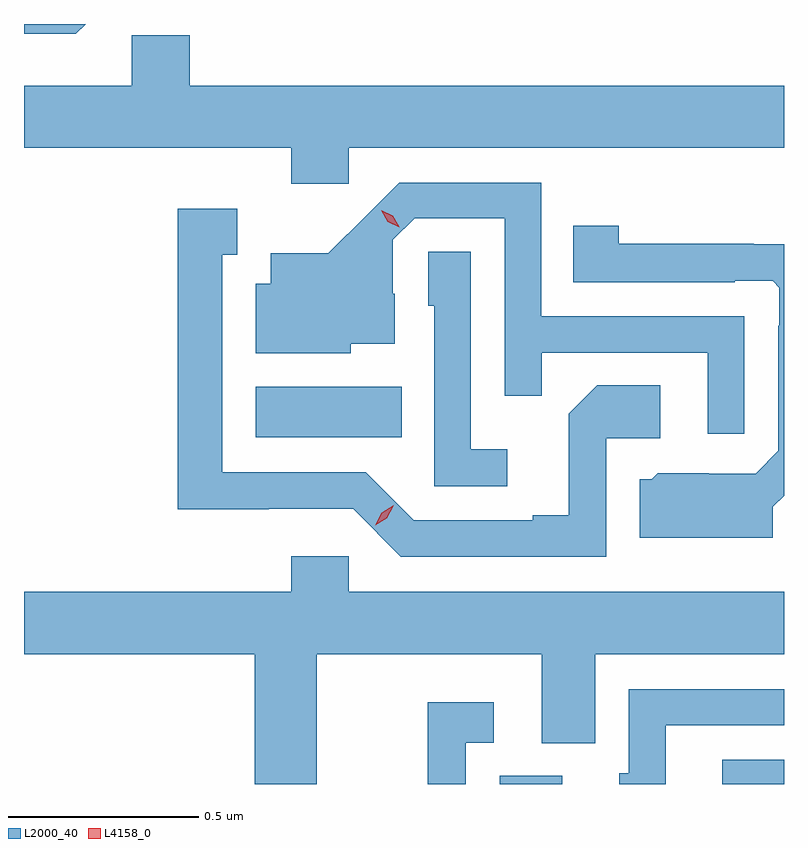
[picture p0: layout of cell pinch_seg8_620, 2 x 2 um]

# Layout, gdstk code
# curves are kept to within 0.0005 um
import gdstk
lib = gdstk.Library(unit=1e-6, precision=1e-09)
def R(c, l, rs):  # rectangles x0, y0, x1, y1
    for r in rs: c.add(gdstk.rectangle(r[:2], r[2:], *l))
def P(c, l, *ps):  # polygons
    for p in ps: c.add(gdstk.Polygon(p, *l))
L2000_40 = (2000, 40)
L4158_0 = (4158, 0)

pinch_seg8_620 = lib.new_cell('pinch_seg8_620')
R(pinch_seg8_620, L2000_40, [(127.358,1101.506,127.522,1101.528), (127.944,1101.506,128.106,1101.57), (126.716,1102.418,127.1,1102.552)])
P(pinch_seg8_620, L2000_40, [(126.268,1103.506),(126.106,1103.506),(126.106,1103.48),(126.242,1103.48)],
  [(126.96,1103.18),(128.106,1103.18),(128.106,1103.344),(126.542,1103.344),(126.542,1103.476),(126.39,1103.476),(126.39,1103.344),(126.106,1103.344),(126.106,1103.18),(126.809,1103.18),(126.809,1103.085),(126.96,1103.085)],
  [(128.001,1102.737),(127.467,1102.737),(127.467,1103.088),(127.094,1103.088),(126.907,1102.903),(126.755,1102.903),(126.755,1102.822),(126.716,1102.822),(126.716,1102.64),(126.966,1102.64),(126.966,1102.664),(127.081,1102.664),(127.081,1102.796),(127.077,1102.796),(127.077,1102.938),(127.134,1102.995),(127.371,1102.995),(127.371,1102.528),(127.469,1102.528),(127.469,1102.641),(127.905,1102.641),(127.905,1102.428),(128.001,1102.428)],
  [(127.638,1102.416),(127.78,1102.416),(127.78,1102.556),(127.615,1102.556),(127.539,1102.48),(127.539,1102.213),(127.445,1102.213),(127.445,1102.2),(127.131,1102.2),(127.005,1102.326),(126.628,1102.326),(126.628,1102.899),(126.667,1102.899),(126.667,1103.02),(126.51,1103.02),(126.51,1102.229),(126.75,1102.229),(126.75,1102.23),(126.972,1102.23),(127.098,1102.104),(127.638,1102.104)],
  [(128.077,1102.236),(128.106,1102.265),(128.106,1102.927),(128.027,1102.927),(128.027,1102.928),(127.671,1102.928),(127.671,1102.975),(127.552,1102.975),(127.552,1102.827),(127.976,1102.827),(127.976,1102.83),(128.076,1102.83),(128.094,1102.812),(128.094,1102.712),(128.091,1102.712),(128.091,1102.383),(128.031,1102.323),(127.908,1102.323),(127.908,1102.324),(127.774,1102.324),(127.758,1102.308),(127.727,1102.308),(127.727,1102.154),(128.077,1102.154)],
  [(127.378,1102.387),(127.281,1102.387),(127.281,1102.907),(127.17,1102.907),(127.17,1102.764),(127.185,1102.764),(127.185,1102.29),(127.378,1102.29)],
  [(126.877,1101.848),(127.469,1101.848),(127.469,1101.613),(127.609,1101.613),(127.609,1101.848),(128.106,1101.848),(128.106,1102.012),(126.96,1102.012),(126.96,1102.105),(126.809,1102.105),(126.809,1102.012),(126.106,1102.012),(126.106,1101.848),(126.713,1101.848),(126.713,1101.506),(126.877,1101.506)],
  [(127.795,1101.66),(128.106,1101.66),(128.106,1101.756),(127.698,1101.756),(127.698,1101.534),(127.673,1101.534),(127.673,1101.506),(127.795,1101.506)],
  [(127.269,1101.615),(127.342,1101.615),(127.342,1101.721),(127.168,1101.721),(127.168,1101.506),(127.269,1101.506)])
P(pinch_seg8_620, L4158_0, [(127.094,1102.971),(127.063,1102.986),(127.046,1103.016),(127.046,1103.016),(127.046,1103.016),(127.077,1103.001),(127.094,1102.972),(127.094,1102.971)],
  [(127.03,1102.187),(127.03,1102.187),(127.047,1102.22),(127.079,1102.239),(127.079,1102.239),(127.079,1102.239),(127.061,1102.206),(127.03,1102.187)])

lib.write_gds('pinch_seg8_620.gds')
